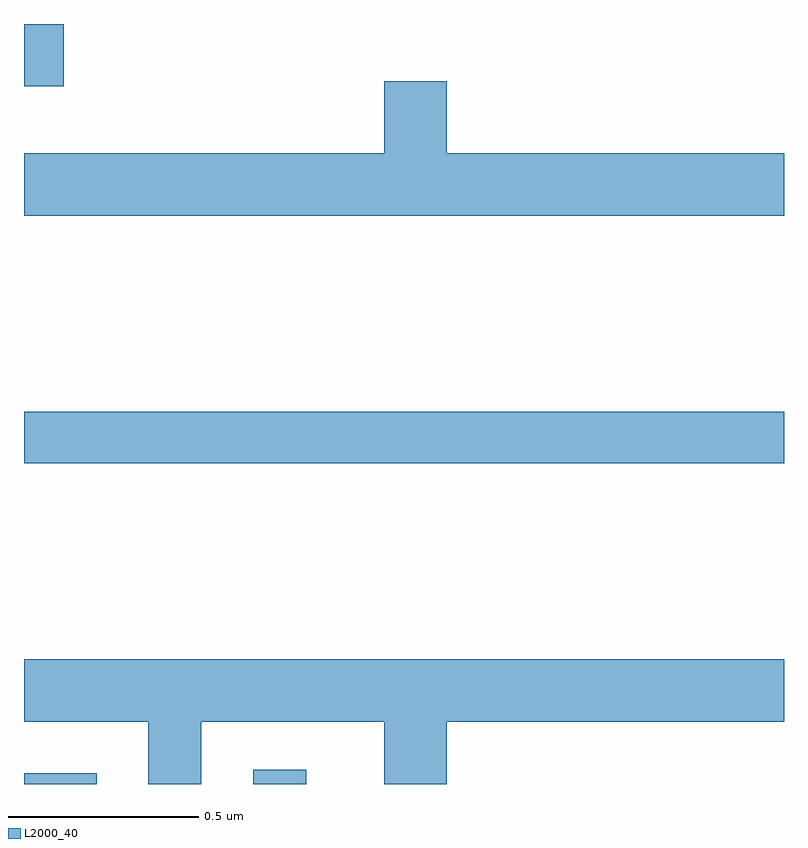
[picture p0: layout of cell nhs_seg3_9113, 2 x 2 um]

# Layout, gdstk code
import gdstk
lib = gdstk.Library(unit=1e-6, precision=1e-09)
def R(c, l, rs):  # rectangles x0, y0, x1, y1
    for r in rs: c.add(gdstk.rectangle(r[:2], r[2:], *l))
def P(c, l, *ps):  # polygons
    for p in ps: c.add(gdstk.Polygon(p, *l))
L2000_40 = (2000, 40)

nhs_seg3_9113 = lib.new_cell('nhs_seg3_9113')
R(nhs_seg3_9113, L2000_40, [(224,719.4,224.191,719.428), (224.603,719.4,224.743,719.437), (224,720.244,226,720.38), (224,721.236,224.105,721.4)])
P(nhs_seg3_9113, L2000_40, [(226,721.06),(225.112,721.06),(225.112,721.249),(224.948,721.249),(224.948,721.06),(224,721.06),(224,720.896),(226,720.896)],
  [(224.467,719.564),(224.948,719.564),(224.948,719.4),(225.112,719.4),(225.112,719.564),(226,719.564),(226,719.728),(224,719.728),(224,719.564),(224.327,719.564),(224.327,719.4),(224.467,719.4)])

lib.write_gds('nhs_seg3_9113.gds')
